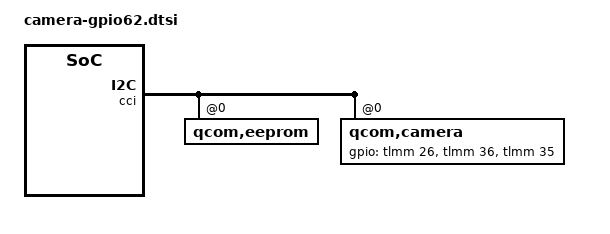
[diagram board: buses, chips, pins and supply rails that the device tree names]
/* Free GPIO 62 for bq27426 fuelgauge.*/

&cci {
    qcom,eeprom@0 {

    };
    qcom,camera@0 {
		pinctrl-0 = <&cam_sensor_mclk0_default
				&cam_sensor_rear_default>;
		pinctrl-1 = <&cam_sensor_mclk0_sleep &cam_sensor_rear_sleep>;
		gpios = <&tlmm 26 0>,
			<&tlmm 36 0>,
			<&tlmm 35 0>;
		/delete-property/ qcom,gpio-vdig;
		qcom,gpio-req-tbl-num = <0 1 2>;
		qcom,gpio-req-tbl-flags = <1 0 0>;
		qcom,gpio-req-tbl-label = "CAMIF_MCLK0",
			"CAM_RESET0",
			"CAM_STANDBY0";
    };
};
